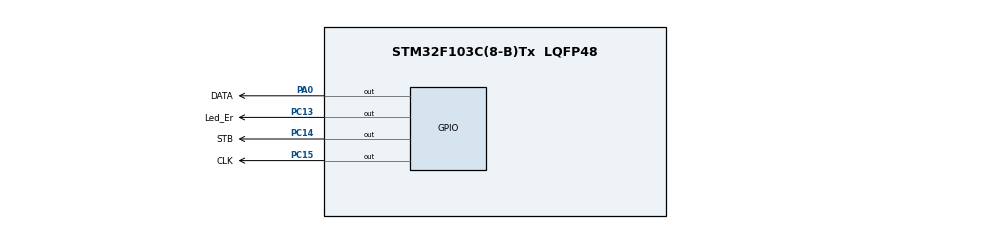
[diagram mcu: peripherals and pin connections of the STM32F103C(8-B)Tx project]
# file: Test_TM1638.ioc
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Mcu.Family=STM32F1
Mcu.Name=STM32F103C(8-B)Tx
Mcu.Package=LQFP48
NVIC.PriorityGroup=NVIC_PRIORITYGROUP_4
PA0-WKUP.GPIO_Label=DATA
PA0-WKUP.Signal=GPIO_Output
PA13.Mode=Serial_Wire
PA13.Signal=SYS_JTMS-SWDIO
PA14.Mode=Serial_Wire
PA14.Signal=SYS_JTCK-SWCLK
PC13-TAMPER-RTC.GPIO_Label=Led_Er
PC13-TAMPER-RTC.Signal=GPIO_Output
PC14-OSC32_IN.GPIO_Label=STB
PC14-OSC32_IN.Signal=GPIO_Output
PC15-OSC32_OUT.GPIO_Label=CLK
PC15-OSC32_OUT.Signal=GPIO_Output
ProjectManager.HeapSize=0x200
ProjectManager.StackSize=0x400
ProjectManager.TargetToolchain=MDK-ARM V5
RCC.APB1Freq_Value=8000000
RCC.APB2Freq_Value=8000000
board=custom

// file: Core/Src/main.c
/* USER CODE BEGIN Header */
/**
  ******************************************************************************
  * @file           : main.c
  * @brief          : Main program body
  ******************************************************************************
  * @attention
  *
  * Copyright (c) 2024 STMicroelectronics.
  * All rights reserved.
  *
  * This software is licensed under terms that can be found in the LICENSE file
  * in the root directory of this software component.
  * If no LICENSE file comes with this software, it is provided AS-IS.
  *
  ******************************************************************************
  */
/* USER CODE END Header */
#include "main.h"

/* USER CODE BEGIN Includes */
#include "string.h"
#include "stdio.h"
/* USER CODE END Includes */

/* USER CODE BEGIN PV */
const uint8_t FontNumber[] = {
    0x3F, // 0
    0x06, // 1
    0x5B, // 2
    0x4F, // 3
    0x66, // 4
    0x6D, // 5
    0x7D, // 6
    0x07, // 7
    0x7F, // 8
    0x6F, // 9
    0x77, // A
    0x7C, // b
    0x39, // C
    0x5E, // d
    0x79, // E
    0x71  // F
};

const char FontChar[] =
{
	0x00, // (32) <space>
	0xC6, // (33) !
	0x22, // (34) "
	0x7E, // (35) #
	0x6D, // (36) $
	0x00, // (37) %
	0x00, // (38) &
	0x02, // (39) '
	0x30, // (40) (
	0x06, // (41) )
	0x63, // (42) *
	0x00, // (43) +
	0x04, // (44) ,
	0x40, // (45) -
	0x80, // (46) .
	0x52, // (47) /
	0x3F, // (48) 0
	0x06, // (49) 1
	0x6B, // (50) 2
	0x4F, // (51) 3
	0x66, // (52) 4
	0x6D, // (53) 5
	0x7D, // (54) 6
	0x27, // (55) 7
	0x7F, // (56) 8
	0x6F, // (57) 9
	0x00, // (58) :
	0x00, // (59) ;
	0x00, // (60) <
	0x48, // (61) =
	0x00, // (62) >
	0x53, // (63) ?
	0x5F, // (64) @
	0x77, // (65) A
	0x7F, // (66) B
	0x39, // (67) C
	0x3F, // (68) D
	0x79, // (69) E
	0x71, // (70) F
	0x3D, // (71) G
	0x76, // (72) H
	0x06, // (73) I
	0x1F, // (74) J
	0x69, // (75) K
	0x38, // (76) L
	0x55, // (77) M
	0x37, // (78) N
	0x3F, // (79) O
	0x73, // (80) P
	0x67, // (81) Q
	0x31, // (82) R
	0x6D, // (83) S
	0x78, // (84) T
	0x3E, // (85) U
	0x2A, // (86) V
	0x3D, // (87) W
	0x76, // (88) X
	0x6E, // (89) Y
	0x6B, // (90) Z
	0x39, // (91) [
	0x64, // (92)
	0x0F, // (93) ]
	0x00, // (94) ^
	0x08, // (95) _
	0x20, // (96) `
	0x5F, // (97) a
	0x7C, // (98) b
	0x58, // (99) c
	0x5E, // (100) d
	0x7B, // (101) e
	0x31, // (102) f
	0x6F, // (103) g
	0x74, // (104) h
	0x04, // (105) i
	0x0E, // (106) j
	0x75, // (107) k
	0x30, // (108) l
	0x55, // (109) m
	0x54, // (110) n
	0x5C, // (111) o
	0x73, // (112) p
	0x67, // (113) q
	0x50, // (114) r
	0x6D, // (115) s
	0x78, // (116) t
	0x1C, // (117) u
	0x2A, // (118) v
	0x1D, // (119) w
	0x76, // (120) x
	0x6E, // (121) y
	0x47, // (122) z
	0x46, // (123) {
	0x06, // (124) |
	0x70, // (125) }
	0x01, // (126) ~
};

uint8_t button_State;
/* USER CODE END PV */

void SystemClock_Config(void);
static void MX_GPIO_Init(void);
/* USER CODE BEGIN PFP */

void TM1638_Init(uint8_t Data) {
    for (int i = 0; i < 8; i++) {
        // Set DI pin
			if (Data & 0x01) {
					HAL_GPIO_WritePin(DATA_GPIO_Port, DATA_Pin, GPIO_PIN_SET);
			} else {
					HAL_GPIO_WritePin(DATA_GPIO_Port, DATA_Pin, GPIO_PIN_RESET);
			}

			// Toggle CLK pin
			HAL_GPIO_WritePin(CLK_GPIO_Port, CLK_Pin, GPIO_PIN_RESET);
			Data >>= 1;
			HAL_GPIO_WritePin(CLK_GPIO_Port, CLK_Pin, GPIO_PIN_SET);
    }
}

void WriteCmd(uint8_t cmd) {
    HAL_GPIO_WritePin(STB_GPIO_Port, STB_Pin, GPIO_PIN_RESET);
    TM1638_Init(cmd);
    HAL_GPIO_WritePin(STB_GPIO_Port, STB_Pin, GPIO_PIN_SET);
}

// Xoa man hinh va tat tat ca cac Led
void LedReset(void) {
    WriteCmd(0x40);
    HAL_GPIO_WritePin(STB_GPIO_Port, STB_Pin, GPIO_PIN_RESET);
    TM1638_Init(0xC0);

    for (int i = 0; i < 32; i++) {
        TM1638_Init(0x00);
    }

    HAL_GPIO_WritePin(STB_GPIO_Port, STB_Pin, GPIO_PIN_SET);
}

void WriteDigit(uint8_t number, uint8_t pos) {
    WriteCmd(0x44);
    HAL_GPIO_WritePin(STB_GPIO_Port, STB_Pin, GPIO_PIN_RESET);
    TM1638_Init(0xC0 | pos);
    TM1638_Init(FontNumber[number]);
    HAL_GPIO_WritePin(STB_GPIO_Port, STB_Pin, GPIO_PIN_SET);
}

// Ham hien thi so
void DisplayLongNumber(int32_t number) {
    uint8_t digits[8] = {0};

    for (int i = 0; i < 8; i++) {
        digits[i] = number % 10;
        number /= 10;
    }

    WriteCmd(0x40);
    HAL_GPIO_WritePin(STB_GPIO_Port, STB_Pin, GPIO_PIN_RESET);
    TM1638_Init(0xC0);

    for (int i = 7; i >= 0; i--) {
        TM1638_Init(FontNumber[digits[i]]);
        TM1638_Init(0x00);
    }

    HAL_GPIO_WritePin(STB_GPIO_Port, STB_Pin, GPIO_PIN_SET);
}

// Ham hien thi gia tri  String
void DisplayString(const char *msg) {
    WriteCmd(0x40);
    HAL_GPIO_WritePin(STB_GPIO_Port, STB_Pin, GPIO_PIN_RESET);
    TM1638_Init(0xC0);

    for (int i = 0; i < 8; i++) {
        if (msg[i] == '\0') break; // End of string
        TM1638_Init(FontChar[msg[i] - 32]);
        TM1638_Init(0x00); // Space between characters
    }

    HAL_GPIO_WritePin(STB_GPIO_Port, STB_Pin, GPIO_PIN_SET);
}

/* Ham dieu khien Led*/
void SetLed(uint8_t value, uint8_t pos)
{
	HAL_GPIO_WritePin(DATA_GPIO_Port, DATA_Pin, GPIO_PIN_RESET);
	WriteCmd(0x44);
	HAL_GPIO_WritePin(STB_GPIO_Port, STB_Pin, GPIO_PIN_RESET);
	uint8_t dataSend = 0xC1 + (pos << 1);
	TM1638_Init(dataSend);
	TM1638_Init(value);

	HAL_GPIO_WritePin(STB_GPIO_Port, STB_Pin, GPIO_PIN_SET);
}

uint8_t TM1638_ReadByte(void)
{
	uint8_t data = 0;
	for(int i = 0; i < 8; i++)
	{
			data >>= 1;
			HAL_GPIO_WritePin(CLK_GPIO_Port, CLK_Pin, GPIO_PIN_RESET);
			if(HAL_GPIO_ReadPin(DATA_GPIO_Port, DATA_Pin) == GPIO_PIN_SET)
			{
				data |= 0x80;
			}
			HAL_GPIO_WritePin(CLK_GPIO_Port, CLK_Pin, GPIO_PIN_SET);
	}
	return data;
}

uint8_t Read_button()
{
	uint8_t button = 0;
	HAL_GPIO_WritePin(STB_GPIO_Port, STB_Pin, GPIO_PIN_RESET);
	WriteCmd(0x42);
	// Set chan Data la Input
	for(int i = 0; i < 4; i++)
	{
		button |= (TM1638_ReadByte() << (i *8));
	}
	// Set chan Data la chan Output
	HAL_GPIO_WritePin(STB_GPIO_Port, STB_Pin, GPIO_PIN_SET);
	return button;
}
/* Ham doc nut nhan*/
/* USER CODE END PFP */

int main(void)
{

  /* MCU Configuration--------------------------------------------------------*/

  /* Reset of all peripherals, Initializes the Flash interface and the Systick. */
  HAL_Init();

  /* Configure the system clock */
  SystemClock_Config();

  /* Initialize all configured peripherals */
  MX_GPIO_Init();
  /* USER CODE BEGIN 2 */
    WriteCmd(0x8F);
	//Led_Reset();
  /* USER CODE END 2 */

  /* Infinite loop */
  while (1)
  {

    /* USER CODE BEGIN 3 */

		DisplayLongNumber(632002);
		HAL_Delay(500);
		DisplayString("--CH1-E-");
		HAL_Delay(500);

		/*	Chuong tirnh Led chop tat tu 1-8*/
		for(int i = 0; i < 8; i++)
		{
			for(int j = 0; j < 8; j++)
			{
				if(i == j)
				{
					SetLed(1, j);
					HAL_Delay(10);
				}
				else{
					SetLed(0, j);
					HAL_Delay(10);
				}
			}
		}

	//button_State = Read_button();

  }
  /* USER CODE END 3 */
}

void SystemClock_Config(void)
{
  RCC_OscInitTypeDef RCC_OscInitStruct = {0};
  RCC_ClkInitTypeDef RCC_ClkInitStruct = {0};

  /** Initializes the RCC Oscillators according to the specified parameters
  * in the RCC_OscInitTypeDef structure.
  */
  RCC_OscInitStruct.OscillatorType = RCC_OSCILLATORTYPE_HSI;
  RCC_OscInitStruct.HSIState = RCC_HSI_ON;
  RCC_OscInitStruct.HSICalibrationValue = RCC_HSICALIBRATION_DEFAULT;
  RCC_OscInitStruct.PLL.PLLState = RCC_PLL_NONE;
  if (HAL_RCC_OscConfig(&RCC_OscInitStruct) != HAL_OK)
  {
    Error_Handler();
  }

  /** Initializes the CPU, AHB and APB buses clocks
  */
  RCC_ClkInitStruct.ClockType = RCC_CLOCKTYPE_HCLK|RCC_CLOCKTYPE_SYSCLK
                              |RCC_CLOCKTYPE_PCLK1|RCC_CLOCKTYPE_PCLK2;
  RCC_ClkInitStruct.SYSCLKSource = RCC_SYSCLKSOURCE_HSI;
  RCC_ClkInitStruct.AHBCLKDivider = RCC_SYSCLK_DIV1;
  RCC_ClkInitStruct.APB1CLKDivider = RCC_HCLK_DIV1;
  RCC_ClkInitStruct.APB2CLKDivider = RCC_HCLK_DIV1;

  if (HAL_RCC_ClockConfig(&RCC_ClkInitStruct, FLASH_LATENCY_0) != HAL_OK)
  {
    Error_Handler();
  }
}

static void MX_GPIO_Init(void)
{
  GPIO_InitTypeDef GPIO_InitStruct = {0};

  /* GPIO Ports Clock Enable */
  __HAL_RCC_GPIOC_CLK_ENABLE();
  __HAL_RCC_GPIOA_CLK_ENABLE();

  /*Configure GPIO pin Output Level */
  HAL_GPIO_WritePin(GPIOC, Led_Er_Pin|STB_Pin|CLK_Pin, GPIO_PIN_RESET);

  /*Configure GPIO pin Output Level */
  HAL_GPIO_WritePin(DATA_GPIO_Port, DATA_Pin, GPIO_PIN_RESET);

  /*Configure GPIO pins : Led_Er_Pin STB_Pin CLK_Pin */
  GPIO_InitStruct.Pin = Led_Er_Pin|STB_Pin|CLK_Pin;
  GPIO_InitStruct.Mode = GPIO_MODE_OUTPUT_PP;
  GPIO_InitStruct.Pull = GPIO_NOPULL;
  GPIO_InitStruct.Speed = GPIO_SPEED_FREQ_LOW;
  HAL_GPIO_Init(GPIOC, &GPIO_InitStruct);

  /*Configure GPIO pin : DATA_Pin */
  GPIO_InitStruct.Pin = DATA_Pin;
  GPIO_InitStruct.Mode = GPIO_MODE_OUTPUT_PP;
  GPIO_InitStruct.Pull = GPIO_NOPULL;
  GPIO_InitStruct.Speed = GPIO_SPEED_FREQ_LOW;
  HAL_GPIO_Init(DATA_GPIO_Port, &GPIO_InitStruct);

}

void Error_Handler(void)
{
  __disable_irq();
  while (1)
  {
  }
}
